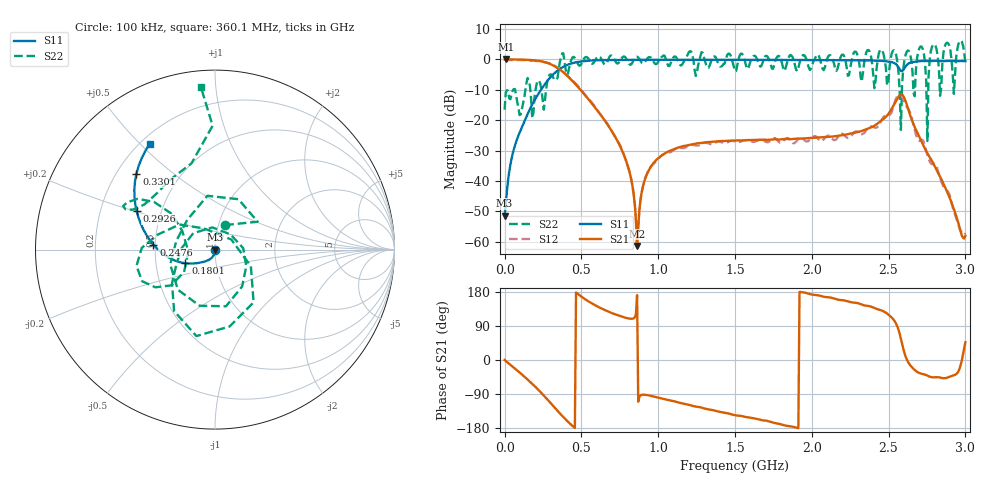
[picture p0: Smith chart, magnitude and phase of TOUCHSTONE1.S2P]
!Agilent Technologies,E5071C,MY46107260,A.09.30
!Date: Mon Jan 01 00:35:49 2001
!Data & Calibration Information:
!Freq	S11:SOLT2(ON)	S21:SOLT2(ON)	S12:SOLT2(ON)	S22:SOLT2(ON)
# Hz S dB R 50
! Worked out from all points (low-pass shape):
!   401 points, 100 kHz to 3 GHz, reference 50 ohm
!   highest |S21| = -0.02 dB at 7.6 MHz (marker M1); lowest = -61.4 dB at 862.6 MHz (marker M2)
!   |S21| within 3 dB of the highest: start of sweep to 349.4 MHz
!   lowest |S11| = -51.4 dB at 100 kHz (marker M3), VSWR 1.01, Z = 50.3 - j0.00986 ohm
!   |S11| at or under -10 dB: start of sweep to 237.6 MHz
!   |S22| runs from -26.9 to 6.2 dB; largest |S21 - S12| = 0.032
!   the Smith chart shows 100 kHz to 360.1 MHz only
!   S11 on the Smith chart (normalised r, x): 100 kHz: 1.01, -0.00; 180.1 MHz: 0.71, -0.11; 247.6 MHz: 0.49, +0.03; 292.6 MHz: 0.36, +0.21; 330.1 MHz: 0.28, +0.38; 360.1 MHz: 0.24, +0.54
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100000  -51.37 -2.1  -0.02 -0.1  -0.06 -0.8  -16.58 67.4
7599750  -47.94 -47.9  -0.02 -2.6  -0.27 -2.6  -10.93 33.1
1.80094e8  -14.83 -155.2  -0.28 -62.9  -0.48 -62.9  -19.43 31.5
2.475918e8  -9.25 175.3  -0.77 -90.4  -0.84 -90.6  -13.45 -144.1
2.925902e8  -6.24 153.6  -1.47 -110.3  -1.32 -110.8  -5.11 151.6
3.30089e8  -4.33 136.1  -2.41 -127.4  -2.26 -127.4  -6.92 136.0
3.60088e8  -3.18 121.6  -3.39 -141.0  -3.32 -141.3  -0.84 94.9
5.025832e8  -0.70 65.8  -10.55 166.6  -10.33 167.3  -1.37 57.0
8.625712e8  -0.20 -8.4  -61.37 171.1  -61.43 172.7  0.85 -6.5
1.005066e9  -0.18 -28.0  -32.31 -99.5  -32.49 -102.4  -0.46 -35.3
1.50005e9  -0.19 -84.9  -26.70 -145.8  -26.96 -140.6  -3.97 -80.3
2.002533e9  -0.26 -136.6  -25.82 172.7  -25.66 169.4  -1.87 -151.2
2.505016e9  -0.82 168.4  -17.52 117.6  -18.41 119.0  -3.18 133.0
2.647512e9  -1.03 171.7  -19.39 -17.1  -18.75 -14.8  -0.19 -145.1
2.69251e9  -0.69 163.0  -24.71 -32.9  -26.63 -31.2  2.35 136.5
2.737509e9  -0.58 158.7  -29.48 -38.7  -28.64 -40.0  -1.36 -141.3
2.782507e9  -0.57 152.4  -33.43 -45.5  -34.51 -37.7  4.09 135.3
2.820006e9  -0.55 149.8  -37.10 -45.3  -36.39 -47.3  1.00 -146.4
2.865004e9  -0.60 143.7  -41.80 -48.1  -42.52 -35.9  4.15 117.5
2.910003e9  -0.57 140.3  -47.27 -42.1  -47.12 -40.0  -0.28 -139.1
2.955002e9  -0.61 135.1  -53.96 -29.9  -54.50 -9.6  5.10 114.1
3e9  -0.62 132.1  -58.04 46.9  -57.15 56.2  -1.54 -125.4
